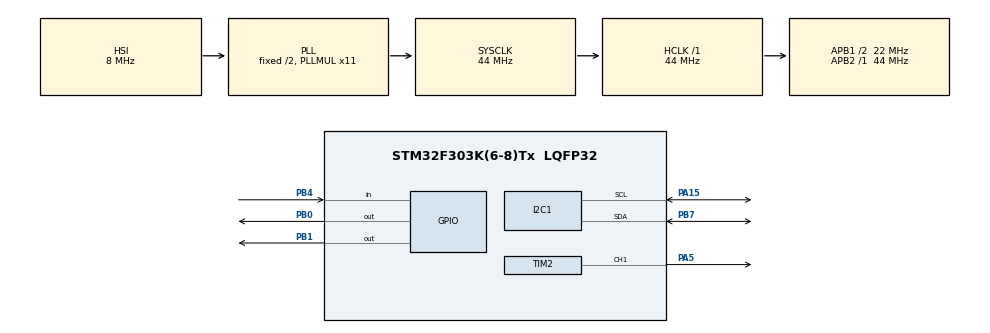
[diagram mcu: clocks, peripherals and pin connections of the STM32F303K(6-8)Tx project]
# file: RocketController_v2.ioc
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Mcu.Family=STM32F3
Mcu.Name=STM32F303K(6-8)Tx
Mcu.Package=LQFP32
NVIC.PriorityGroup=NVIC_PRIORITYGROUP_4
PA0.Mode=SYS_WakeUp0
PA0.Signal=SYS_WKUP1
PA13.Mode=Trace_Asynchronous_SW
PA13.Signal=SYS_JTMS-SWDIO
PA14.Mode=Trace_Asynchronous_SW
PA14.Signal=SYS_JTCK-SWCLK
PA15.Mode=I2C
PA15.Signal=I2C1_SCL
PA5.Signal=S_TIM2_CH1_ETR
PB0.GPIO_PuPd=GPIO_PULLDOWN
PB0.Signal=GPIO_Output
PB1.GPIO_PuPd=GPIO_PULLDOWN
PB1.Signal=GPIO_Output
PB3.Mode=Trace_Asynchronous_SW
PB3.Signal=SYS_JTDO-TRACESWO
PB4.GPIO_PuPd=GPIO_PULLUP
PB4.Signal=GPIO_Input
PB7.Mode=I2C
PB7.Signal=I2C1_SDA
ProjectManager.HeapSize=0x200
ProjectManager.StackSize=0x400
ProjectManager.TargetToolchain=STM32CubeIDE
RCC.AHBFreq_Value=44000000
RCC.APB1CLKDivider=RCC_HCLK_DIV2
RCC.APB1Freq_Value=22000000
RCC.APB1TimFreq_Value=44000000
RCC.APB2Freq_Value=44000000
RCC.APB2TimFreq_Value=44000000
RCC.CortexFreq_Value=44000000
RCC.HCLKFreq_Value=44000000
RCC.HSE_VALUE=8000000
RCC.HSI_VALUE=8000000
RCC.PLLMUL=RCC_PLL_MUL11
RCC.SYSCLKFreq_VALUE=44000000
RCC.SYSCLKSourceVirtual=RCC_SYSCLKSOURCE_PLLCLK
SH.S_TIM2_CH1_ETR.0=TIM2_CH1,PWM Generation1 CH1
TIM2.Channel-PWM\ Generation1\ CH1=TIM_CHANNEL_1
TIM2.Period=1000
TIM2.Prescaler=840
VP_TIM3_VS_ClockSourceINT.Mode=Internal
board=custom

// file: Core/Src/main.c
/* USER CODE BEGIN Header */
/**
 ******************************************************************************
 * @file           : main.c
 * @brief          : Main program body
 ******************************************************************************
 * @attention
 *
 * Copyright (c) 2023 STMicroelectronics.
 * All rights reserved.
 *
 * This software is licensed under terms that can be found in the LICENSE file
 * in the root directory of this software component.
 * If no LICENSE file comes with this software, it is provided AS-IS.
 *
 ******************************************************************************
 */
/* USER CODE END Header */
#include "main.h"

/* USER CODE BEGIN Includes */
#include "stdio.h"
#include <bmp085.h>
#include <bmx.h>
/* USER CODE END Includes */

/* USER CODE BEGIN PM */
#define SAMPLENUM 50

//key parameters
const float refHeightDelta = 10;
const int engineBurnTime = 10 * 1000;
const int topReachTime = 37.9 * 1000;

//motor parameters
const int closeAngle = 85;
const int openAngle = 60;

//TODO : 横扉を占めるときはPWMの出力を0にする

int mode = 0;

//FlightPin
int fpStateArray[SAMPLENUM];
int fpState = 0;

int startTime = 0;
int timeFromLaunch = 0;

float acc[3] = { 0, 0, 0 };
float gyro[3] = { 0, 0, 0 };
float mag[3] = { 0, 0, 0 };

double SEALEVEL_ALTITUDE = 0;
double altitude = 0;
double filteredAltitude = 0;
double maxAltitude = -1000;
double altitudeArray[SAMPLENUM];

//debug
int count = 0;

/* USER CODE END PM */

I2C_HandleTypeDef hi2c1;

TIM_HandleTypeDef htim2;
TIM_HandleTypeDef htim3;

void SystemClock_Config(void);
static void MX_GPIO_Init(void);
static void MX_I2C1_Init(void);
static void MX_TIM2_Init(void);
static void MX_TIM3_Init(void);
/* USER CODE BEGIN PFP */

//judgment
int isLaunched(int FlighPinState);
int isTopReached(int time, double currentHeight, double maxHeight);

void servoWrite(int angle);
void servoTest(int angleA, int angleB, int repeatNum);

void indicateMode(int _mode);

void initializeFpStateArray(int FlightPinState);
void initializeAltitudeArray(double _altitude);
double getRawAltitude();
double getFilteredAltitude(double rawAltitude);
double calcMedian(void *array, int n, int type);
/* USER CODE END PFP */

int main(void) {

	/* MCU Configuration--------------------------------------------------------*/

	/* Reset of all peripherals, Initializes the Flash interface and the Systick. */
	HAL_Init();

	/* Configure the system clock */
	SystemClock_Config();

	/* Initialize all configured peripherals */
	MX_GPIO_Init();
	MX_I2C1_Init();
	MX_TIM2_Init();
	MX_TIM3_Init();
	/* USER CODE BEGIN 2 */
	HAL_TIM_PWM_Start(&htim2, TIM_CHANNEL_1); //initialize PWM
	//HAL_TIM_Base_Start_IT(&htim3);

	int initBMP180 = bmpBegin(1, &hi2c1);

	if (initBMP180 == 1) {
		printf("successfully initialized BMP180\n");
		HAL_Delay(20);
		initializeAltitudeArray(getRawAltitude());
		SEALEVEL_ALTITUDE = getFilteredAltitude(getRawAltitude());
		initializeAltitudeArray(getRawAltitude() - SEALEVEL_ALTITUDE);

	} else {
		printf("initializing BMP180 failed\n");
	}

	//int initBMX = bmxBegin(&hi2c1);

	fpState = HAL_GPIO_ReadPin(GPIOB, GPIO_PIN_4);
	initializeFpStateArray(fpState);
	servoWrite(closeAngle);

	/* USER CODE END 2 */

	/* Infinite loop */
	while (1) {

		/* USER CODE BEGIN 3 */
		//servoTest(85, 60, 10);

		//update altitude
		if (initBMP180) {
			altitude = getRawAltitude() - SEALEVEL_ALTITUDE;
			filteredAltitude = getFilteredAltitude(altitude);

			if (filteredAltitude > maxAltitude) {
				maxAltitude = filteredAltitude;
			}

			printf("rawAltiude= %f, fileteredAltitude = %f, maxAltitude = %f\n",
					altitude, filteredAltitude, maxAltitude);
		}

		/*
		 if (initBMX) {
		 read_bmx_accl(acc);
		 read_bmx_gyro(gyro);
		 read_bmx_mag(mag);
		 printf("accl = %f, %f, %f\n", acc[0], acc[1], acc[2]);
		 printf("gyro = %f, %f, %f\n", gyro[0], gyro[1], gyro[2]);
		 printf("mag = %f, %f, %f\n", mag[0], mag[1], mag[2]);
		 }
		 */

		//update Flight Pin Value
		fpState = HAL_GPIO_ReadPin(GPIOB, GPIO_PIN_4);
		printf("mode = %d, FlightPin = %d\n", mode, fpState);

		//update LED state
		indicateMode(mode);

		if (mode != 0) {
			if (!isLaunched(fpState)) {
				mode = 0;
				servoWrite(closeAngle);
			}
		}

		switch (mode) {
		//mode0: standby, mode1:launched, mode2: paraOpen, mode3: lowPower
		case 0:
			if (isLaunched(fpState)) {
				HAL_TIM_Base_Start_IT(&htim3);
				startTime = HAL_GetTick();
				printf("launched\n");
				mode++;
			}
			break;
		case 1:
			timeFromLaunch = HAL_GetTick() - startTime;
			printf("timeFromLaunch = %d\n", timeFromLaunch);

			if (isTopReached(timeFromLaunch, altitude, maxAltitude)) {
				servoWrite(openAngle);
				mode++;
			}
			break;
		case 2:
			if (timeFromLaunch > 10 * 60) {
				servoWrite(closeAngle);
				//break;
			}
			break;
		}
	}

	/* USER CODE END 3 */
}

void SystemClock_Config(void) {
	RCC_OscInitTypeDef RCC_OscInitStruct = { 0 };
	RCC_ClkInitTypeDef RCC_ClkInitStruct = { 0 };
	RCC_PeriphCLKInitTypeDef PeriphClkInit = { 0 };

	/** Initializes the RCC Oscillators according to the specified parameters
	 * in the RCC_OscInitTypeDef structure.
	 */
	RCC_OscInitStruct.OscillatorType = RCC_OSCILLATORTYPE_HSI;
	RCC_OscInitStruct.HSIState = RCC_HSI_ON;
	RCC_OscInitStruct.HSICalibrationValue = RCC_HSICALIBRATION_DEFAULT;
	RCC_OscInitStruct.PLL.PLLState = RCC_PLL_ON;
	RCC_OscInitStruct.PLL.PLLSource = RCC_PLLSOURCE_HSI;
	RCC_OscInitStruct.PLL.PLLMUL = RCC_PLL_MUL11;
	if (HAL_RCC_OscConfig(&RCC_OscInitStruct) != HAL_OK) {
		Error_Handler();
	}
	/** Initializes the CPU, AHB and APB buses clocks
	 */
	RCC_ClkInitStruct.ClockType = RCC_CLOCKTYPE_HCLK | RCC_CLOCKTYPE_SYSCLK
			| RCC_CLOCKTYPE_PCLK1 | RCC_CLOCKTYPE_PCLK2;
	RCC_ClkInitStruct.SYSCLKSource = RCC_SYSCLKSOURCE_PLLCLK;
	RCC_ClkInitStruct.AHBCLKDivider = RCC_SYSCLK_DIV1;
	RCC_ClkInitStruct.APB1CLKDivider = RCC_HCLK_DIV2;
	RCC_ClkInitStruct.APB2CLKDivider = RCC_HCLK_DIV1;

	if (HAL_RCC_ClockConfig(&RCC_ClkInitStruct, FLASH_LATENCY_1) != HAL_OK) {
		Error_Handler();
	}
	PeriphClkInit.PeriphClockSelection = RCC_PERIPHCLK_I2C1;
	PeriphClkInit.I2c1ClockSelection = RCC_I2C1CLKSOURCE_HSI;
	if (HAL_RCCEx_PeriphCLKConfig(&PeriphClkInit) != HAL_OK) {
		Error_Handler();
	}
}

static void MX_I2C1_Init(void) {

	hi2c1.Instance = I2C1;
	hi2c1.Init.Timing = 0x2000090E;
	hi2c1.Init.OwnAddress1 = 0;
	hi2c1.Init.AddressingMode = I2C_ADDRESSINGMODE_7BIT;
	hi2c1.Init.DualAddressMode = I2C_DUALADDRESS_DISABLE;
	hi2c1.Init.OwnAddress2 = 0;
	hi2c1.Init.OwnAddress2Masks = I2C_OA2_NOMASK;
	hi2c1.Init.GeneralCallMode = I2C_GENERALCALL_DISABLE;
	hi2c1.Init.NoStretchMode = I2C_NOSTRETCH_DISABLE;
	if (HAL_I2C_Init(&hi2c1) != HAL_OK) {
		Error_Handler();
	}
	/** Configure Analogue filter
	 */
	if (HAL_I2CEx_ConfigAnalogFilter(&hi2c1, I2C_ANALOGFILTER_ENABLE)
			!= HAL_OK) {
		Error_Handler();
	}
	/** Configure Digital filter
	 */
	if (HAL_I2CEx_ConfigDigitalFilter(&hi2c1, 0) != HAL_OK) {
		Error_Handler();
	}

}

static void MX_TIM2_Init(void) {

	TIM_MasterConfigTypeDef sMasterConfig = { 0 };
	TIM_OC_InitTypeDef sConfigOC = { 0 };

	htim2.Instance = TIM2;
	htim2.Init.Prescaler = 840;
	htim2.Init.CounterMode = TIM_COUNTERMODE_UP;
	htim2.Init.Period = 1000;
	htim2.Init.ClockDivision = TIM_CLOCKDIVISION_DIV1;
	htim2.Init.AutoReloadPreload = TIM_AUTORELOAD_PRELOAD_DISABLE;
	if (HAL_TIM_PWM_Init(&htim2) != HAL_OK) {
		Error_Handler();
	}
	sMasterConfig.MasterOutputTrigger = TIM_TRGO_RESET;
	sMasterConfig.MasterSlaveMode = TIM_MASTERSLAVEMODE_DISABLE;
	if (HAL_TIMEx_MasterConfigSynchronization(&htim2, &sMasterConfig)
			!= HAL_OK) {
		Error_Handler();
	}
	sConfigOC.OCMode = TIM_OCMODE_PWM1;
	sConfigOC.Pulse = 0;
	sConfigOC.OCPolarity = TIM_OCPOLARITY_HIGH;
	sConfigOC.OCFastMode = TIM_OCFAST_DISABLE;
	if (HAL_TIM_PWM_ConfigChannel(&htim2, &sConfigOC, TIM_CHANNEL_1)
			!= HAL_OK) {
		Error_Handler();
	}
	HAL_TIM_MspPostInit(&htim2);

}

static void MX_TIM3_Init(void) {

	TIM_ClockConfigTypeDef sClockSourceConfig = { 0 };
	TIM_MasterConfigTypeDef sMasterConfig = { 0 };

	htim3.Instance = TIM3;
	htim3.Init.Prescaler = 0;
	htim3.Init.CounterMode = TIM_COUNTERMODE_UP;
	htim3.Init.Period = 65535;
	htim3.Init.ClockDivision = TIM_CLOCKDIVISION_DIV1;
	htim3.Init.AutoReloadPreload = TIM_AUTORELOAD_PRELOAD_DISABLE;
	if (HAL_TIM_Base_Init(&htim3) != HAL_OK) {
		Error_Handler();
	}
	sClockSourceConfig.ClockSource = TIM_CLOCKSOURCE_INTERNAL;
	if (HAL_TIM_ConfigClockSource(&htim3, &sClockSourceConfig) != HAL_OK) {
		Error_Handler();
	}
	sMasterConfig.MasterOutputTrigger = TIM_TRGO_RESET;
	sMasterConfig.MasterSlaveMode = TIM_MASTERSLAVEMODE_DISABLE;
	if (HAL_TIMEx_MasterConfigSynchronization(&htim3, &sMasterConfig)
			!= HAL_OK) {
		Error_Handler();
	}

}

static void MX_GPIO_Init(void) {
	GPIO_InitTypeDef GPIO_InitStruct = { 0 };

	/* GPIO Ports Clock Enable */
	__HAL_RCC_GPIOA_CLK_ENABLE();
	__HAL_RCC_GPIOB_CLK_ENABLE();

	/*Configure GPIO pin Output Level */
	HAL_GPIO_WritePin(GPIOB, GPIO_PIN_0 | GPIO_PIN_1, GPIO_PIN_RESET);

	/*Configure GPIO pins : PB0 PB1 */
	GPIO_InitStruct.Pin = GPIO_PIN_0 | GPIO_PIN_1;
	GPIO_InitStruct.Mode = GPIO_MODE_OUTPUT_PP;
	GPIO_InitStruct.Pull = GPIO_PULLDOWN;
	GPIO_InitStruct.Speed = GPIO_SPEED_FREQ_LOW;
	HAL_GPIO_Init(GPIOB, &GPIO_InitStruct);

	/*Configure GPIO pin : PB4 */
	GPIO_InitStruct.Pin = GPIO_PIN_4;
	GPIO_InitStruct.Mode = GPIO_MODE_INPUT;
	GPIO_InitStruct.Pull = GPIO_PULLUP;
	HAL_GPIO_Init(GPIOB, &GPIO_InitStruct);

}

/* USER CODE BEGIN 4 */
int _write(int file, char *ptr, int len) {
	int DataIdx;
	for (DataIdx = 0; DataIdx < len; DataIdx++) {
		ITM_SendChar(*ptr++);
	}
	return len;
}

int isLaunched(int FlighPinState) {

	fpStateArray[0] = FlighPinState;

	for (int i = (SAMPLENUM - 1); i > 0; i--) {
		fpStateArray[i] = fpStateArray[i - 1];
	}

	if (calcMedian(fpStateArray, SAMPLENUM, 0) == 1) { //launched
		return 1;
	} else {
		return 0;
	}

}

int isTopReached(int time, double currentHeight, double maxHeight) {
	if (time > topReachTime) {
		return 1;
		//}else if (maxHeight - currentHeight > refHeightDelta
		//&& time > engineBurnTime) {
		//return 1;
	} else {
		return 0;
	}
}

void initializeFpStateArray(int FlightPinState) {
	for (int i = 0; i < SAMPLENUM; i++) {
		fpStateArray[i] = FlightPinState;
	}
}

void initializeAltitudeArray(double _altitude) {
	for (int i = 0; i < SAMPLENUM; i++) {
		altitudeArray[i] = _altitude;
	}
}

double getRawAltitude() {
	double pressure = readBMPPressure();
	double temperature = readBMPTemperature();
	double _altitude = calculateAltitude(pressure, temperature);

	return _altitude;
}

double getFilteredAltitude(double rawAltitude) {
	altitudeArray[0] = rawAltitude;

	for (int i = (SAMPLENUM - 1); i > 0; i--) {
		altitudeArray[i] = altitudeArray[i - 1];
	}

	double filteredAltitude = calcMedian(altitudeArray, SAMPLENUM, 1);

	return filteredAltitude;
}

double calcMedian(void *array, int n, int type) {
	if (type == 0) { // If data type is int
		int *intArray = (int*) array;

		for (int i = 0; i < n; i++) {
			for (int j = i + 1; j < n; j++) {
				if (intArray[i] > intArray[j]) {
					int changer = intArray[j];
					intArray[j] = intArray[i];
					intArray[i] = changer;
				}
			}
		}

		if (n % 2 == 0) {
			return (double) (intArray[n / 2] + intArray[n / 2 - 1]) / 2;
		} else {
			return (double) intArray[n / 2];
		}
	} else if (type == 1) { // If data type is float
		double *doubleArray = (double*) array;

		for (int i = 0; i < n; i++) {
			for (int j = i + 1; j < n; j++) {
				if (doubleArray[i] > doubleArray[j]) {
					float changer = doubleArray[j];
					doubleArray[j] = doubleArray[i];
					doubleArray[i] = changer;
				}
			}
		}

		if (n % 2 == 0) {
			return (doubleArray[n / 2] + doubleArray[n / 2 - 1]) / 2;
		} else {
			return doubleArray[n / 2];
		}
	} else {
		// Error or unknown data type
		return 0.0;
	}
}

void servoWrite(int angle) {
	// Calculate pulse value based on the angle
	int pulseValue = 25 + angle * (120 - 25) / 180;

	// Ensure pulseValue is within valid range
	if (pulseValue > 120) {
		pulseValue = 120;
	}

	// Set the pulse width using TIM2 and specified channel
	__HAL_TIM_SET_COMPARE(&htim2, TIM_CHANNEL_1, pulseValue);
}

void servoTest(int angleA, int angleB, int repeatNum) {
	for (int i = 0; i < repeatNum; i++) {
		HAL_Delay(2000);
		servoWrite(angleA); // 80
		HAL_Delay(2000);
		servoWrite(angleB); // 60
	}
}

void indicateMode(int _mode) {
	if (_mode == 0) {
		HAL_GPIO_WritePin(GPIOB, GPIO_PIN_0, GPIO_PIN_RESET);
		HAL_GPIO_WritePin(GPIOB, GPIO_PIN_1, GPIO_PIN_RESET);
	} else if (_mode == 1) {
		HAL_GPIO_WritePin(GPIOB, GPIO_PIN_0, GPIO_PIN_RESET);
		HAL_GPIO_WritePin(GPIOB, GPIO_PIN_1, GPIO_PIN_SET);
	} else if (_mode == 2) {
		HAL_GPIO_WritePin(GPIOB, GPIO_PIN_0, GPIO_PIN_SET);
		HAL_GPIO_WritePin(GPIOB, GPIO_PIN_1, GPIO_PIN_SET);
	}
}

/* USER CODE END 4 */

void Error_Handler(void) {
	__disable_irq();
	while (1) {
	}
}
